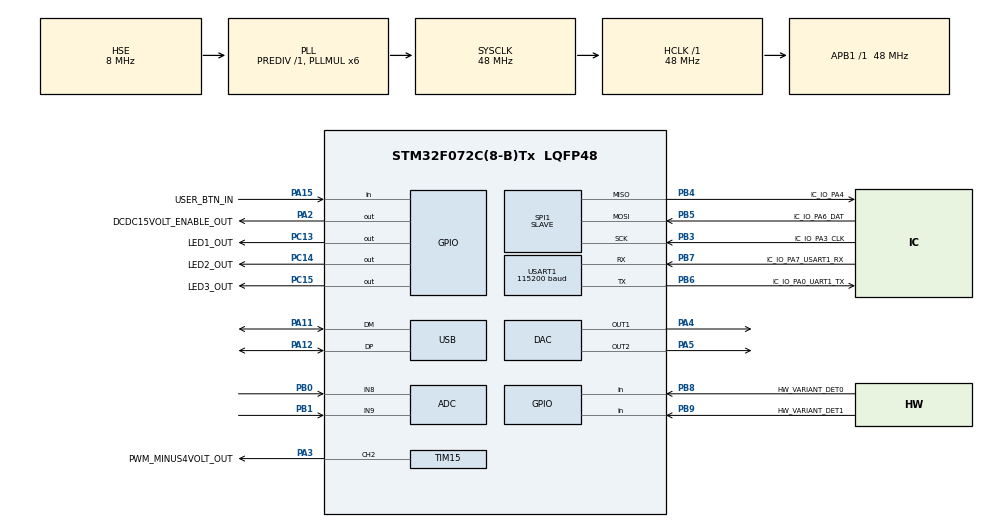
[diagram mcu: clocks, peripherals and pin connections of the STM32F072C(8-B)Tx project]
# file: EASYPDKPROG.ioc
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ADC.ContinuousConvMode=DISABLE
ADC.DMAContinuousRequests=ENABLE
ADC.EOCSelection=ADC_EOC_SEQ_CONV
ADC.ExternalTrigConv=ADC_EXTERNALTRIGCONV_T1_TRGO
ADC.Overrun=ADC_OVR_DATA_OVERWRITTEN
ADC.SamplingTime=ADC_SAMPLETIME_239CYCLES_5
DAC.DAC_OutputBuffer=DAC_OUTPUTBUFFER_DISABLE
DAC.DAC_OutputBuffer2=DAC_OUTPUTBUFFER_DISABLE
DAC.DAC_Trigger=DAC_TRIGGER_NONE
DAC.DAC_Trigger2=DAC_TRIGGER_NONE
Dma.ADC.0.Direction=DMA_PERIPH_TO_MEMORY
Dma.ADC.0.Instance=DMA1_Channel1
Dma.ADC.0.MemDataAlignment=DMA_MDATAALIGN_HALFWORD
Dma.ADC.0.MemInc=DMA_MINC_ENABLE
Dma.ADC.0.Mode=DMA_CIRCULAR
Dma.ADC.0.PeriphDataAlignment=DMA_PDATAALIGN_HALFWORD
Dma.ADC.0.PeriphInc=DMA_PINC_DISABLE
Dma.ADC.0.Priority=DMA_PRIORITY_LOW
Dma.DAC_CH2.4.Direction=DMA_MEMORY_TO_PERIPH
Dma.DAC_CH2.4.Instance=DMA1_Channel4
Dma.DAC_CH2.4.MemDataAlignment=DMA_MDATAALIGN_WORD
Dma.DAC_CH2.4.MemInc=DMA_MINC_ENABLE
Dma.DAC_CH2.4.Mode=DMA_CIRCULAR
Dma.DAC_CH2.4.PeriphDataAlignment=DMA_PDATAALIGN_WORD
Dma.DAC_CH2.4.PeriphInc=DMA_PINC_DISABLE
Dma.DAC_CH2.4.Priority=DMA_PRIORITY_VERY_HIGH
Dma.Request0=ADC
Dma.Request1=USART1_RX
Dma.Request2=SPI1_TX
Dma.Request3=SPI1_RX
Dma.Request4=DAC_CH2
Dma.SPI1_RX.3.Direction=DMA_PERIPH_TO_MEMORY
Dma.SPI1_RX.3.Instance=DMA1_Channel2
Dma.SPI1_RX.3.MemDataAlignment=DMA_MDATAALIGN_BYTE
Dma.SPI1_RX.3.MemInc=DMA_MINC_ENABLE
Dma.SPI1_RX.3.Mode=DMA_CIRCULAR
Dma.SPI1_RX.3.PeriphDataAlignment=DMA_PDATAALIGN_BYTE
Dma.SPI1_RX.3.PeriphInc=DMA_PINC_DISABLE
Dma.SPI1_RX.3.Priority=DMA_PRIORITY_VERY_HIGH
Dma.SPI1_TX.2.Direction=DMA_MEMORY_TO_PERIPH
Dma.SPI1_TX.2.Instance=DMA1_Channel3
Dma.SPI1_TX.2.MemDataAlignment=DMA_MDATAALIGN_BYTE
Dma.SPI1_TX.2.MemInc=DMA_MINC_ENABLE
Dma.SPI1_TX.2.Mode=DMA_CIRCULAR
Dma.SPI1_TX.2.PeriphDataAlignment=DMA_PDATAALIGN_BYTE
Dma.SPI1_TX.2.PeriphInc=DMA_PINC_DISABLE
Dma.SPI1_TX.2.Priority=DMA_PRIORITY_VERY_HIGH
Dma.USART1_RX.1.Direction=DMA_PERIPH_TO_MEMORY
Dma.USART1_RX.1.Instance=DMA1_Channel5
Dma.USART1_RX.1.MemDataAlignment=DMA_MDATAALIGN_BYTE
Dma.USART1_RX.1.MemInc=DMA_MINC_ENABLE
Dma.USART1_RX.1.Mode=DMA_CIRCULAR
Dma.USART1_RX.1.PeriphDataAlignment=DMA_PDATAALIGN_BYTE
Dma.USART1_RX.1.PeriphInc=DMA_PINC_DISABLE
Dma.USART1_RX.1.Priority=DMA_PRIORITY_LOW
Mcu.Family=STM32F0
Mcu.Name=STM32F072C(8-B)Tx
Mcu.Package=LQFP48
NVIC.DMA1_Channel1_IRQn=true\:0\:0\:false\:false\:true\:false\:true
NVIC.DMA1_Channel2_3_IRQn=true\:0\:0\:false\:false\:true\:false\:true
NVIC.DMA1_Channel4_5_6_7_IRQn=true\:0\:0\:false\:false\:true\:false\:true
NVIC.TIM1_CC_IRQn=true\:0\:0\:false\:false\:true\:true\:true
NVIC.USART1_IRQn=true\:0\:0\:false\:false\:true\:true\:true
NVIC.USB_IRQn=true\:0\:0\:false\:false\:true\:false\:true
PA11.Mode=Device
PA11.Signal=USB_DM
PA12.Mode=Device
PA12.Signal=USB_DP
PA13.Mode=Serial_Wire
PA13.Signal=SYS_SWDIO
PA14.Mode=Serial_Wire
PA14.Signal=SYS_SWCLK
PA15.GPIO_Label=USER_BTN_IN
PA15.GPIO_PuPd=GPIO_PULLDOWN
PA15.Signal=GPIO_Input
PA2.GPIO_Label=DCDC15VOLT_ENABLE_OUT
PA2.PinState=GPIO_PIN_RESET
PA2.Signal=GPIO_Output
PA3.GPIO_Label=PWM_MINUS4VOLT_OUT
PA3.GPIO_Speed=GPIO_SPEED_FREQ_HIGH
PA3.Signal=S_TIM15_CH2
PA4.Signal=COMP_DAC1_group
PA5.Signal=COMP_DAC2_group
PB0.Mode=IN8
PB0.Signal=ADC_IN8
PB1.Mode=IN9
PB1.Signal=ADC_IN9
PB3.GPIO_Label=IC_IO_PA3_CLK
PB3.GPIO_PuPd=GPIO_NOPULL
PB3.Mode=Full_Duplex_Slave
PB3.Signal=SPI1_SCK
PB4.GPIO_Label=IC_IO_PA4
PB4.Mode=Full_Duplex_Slave
PB4.Signal=SPI1_MISO
PB5.GPIO_Label=IC_IO_PA6_DAT
PB5.Mode=Full_Duplex_Slave
PB5.Signal=SPI1_MOSI
PB6.GPIO_Label=IC_IO_PA0_UART1_TX
PB6.Mode=Asynchronous
PB6.Signal=USART1_TX
PB7.GPIO_Label=IC_IO_PA7_USART1_RX
PB7.GPIO_PuPd=GPIO_PULLDOWN
PB7.Mode=Asynchronous
PB7.Signal=USART1_RX
PB8.GPIO_Label=HW_VARIANT_DET0
PB8.Signal=GPIO_Input
PB9.GPIO_Label=HW_VARIANT_DET1
PB9.Signal=GPIO_Input
PC13.GPIO_Label=LED1_OUT
PC13.PinState=GPIO_PIN_SET
PC13.Signal=GPIO_Output
PC14-OSC32_IN.GPIO_Label=LED2_OUT
PC14-OSC32_IN.PinState=GPIO_PIN_SET
PC14-OSC32_IN.Signal=GPIO_Output
PC15-OSC32_OUT.GPIO_Label=LED3_OUT
PC15-OSC32_OUT.PinState=GPIO_PIN_SET
PC15-OSC32_OUT.Signal=GPIO_Output
PF0-OSC_IN.Mode=HSE-External-Oscillator
PF0-OSC_IN.Signal=RCC_OSC_IN
PF1-OSC_OUT.Mode=HSE-External-Oscillator
PF1-OSC_OUT.Signal=RCC_OSC_OUT
ProjectManager.HeapSize=0x08
ProjectManager.StackSize=0x400
ProjectManager.TargetToolchain=Makefile
RCC.AHBFreq_Value=48000000
RCC.APB1Freq_Value=48000000
RCC.APB1TimFreq_Value=48000000
RCC.HCLKFreq_Value=48000000
RCC.PLLMUL=RCC_PLL_MUL6
RCC.PLLSourceVirtual=RCC_PLLSOURCE_HSE
RCC.SYSCLKFreq_VALUE=48000000
RCC.SYSCLKSource=RCC_SYSCLKSOURCE_PLLCLK
SH.COMP_DAC1_group.0=DAC_OUT1,DAC_OUT1
SH.COMP_DAC2_group.0=DAC_OUT2,DAC_OUT2
SH.S_TIM15_CH2.0=TIM15_CH2,PWM Generation2 CH2
SPI1.DataSize=SPI_DATASIZE_8BIT
SPI1.Direction=SPI_DIRECTION_2LINES
SPI1.Mode=SPI_MODE_SLAVE
SPI1.VirtualType=VM_SLAVE
TIM1.Period=10
TIM1.Prescaler=48000
TIM1.TIM_MasterOutputTrigger=TIM_TRGO_UPDATE
TIM15.Channel-PWM\ Generation2\ CH2=TIM_CHANNEL_2
TIM15.Period=10
TIM15.Prescaler=95
TIM15.Pulse-PWM\ Generation2\ CH2=5
TIM2.Period=0xFFFFFFFF
TIM3.Period=48000
TIM3.TIM_MasterOutputTrigger=TIM_TRGO_UPDATE
USART1.AutoBaudRateEnableParam=UART_ADVFEATURE_AUTOBAUDRATE_ENABLE
USART1.BaudRate=115200
USART1.Mode=MODE_TX_RX
USART1.VirtualMode-Asynchronous=VM_ASYNC
USB_DEVICE.APP_RX_DATA_SIZE=512
USB_DEVICE.APP_TX_DATA_SIZE=1
USB_DEVICE.CLASS_NAME_FS=CDC
USB_DEVICE.MANUFACTURER_STRING=free-pdk.github.io
USB_DEVICE.PRODUCT_STRING_CDC_FS=Easy PDK Programmer
USB_DEVICE.SERIALNUMBER_STRING_CDC_FS=1234567855AA
USB_DEVICE.USBD_MAX_STR_DESC_SIZ=128
USB_DEVICE.VirtualMode=Cdc
USB_DEVICE.VirtualModeFS=Cdc_FS
VP_ADC_Vref_Input.Mode=IN-Vrefint
VP_TIM15_VS_ClockSourceINT.Mode=Internal
VP_TIM1_VS_ClockSourceINT.Mode=Internal
VP_TIM2_VS_ClockSourceINT.Mode=Internal
VP_TIM3_VS_ClockSourceINT.Mode=Internal
VP_USB_DEVICE_VS_USB_DEVICE_CDC_FS.Mode=CDC_FS
board=custom

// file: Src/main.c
/* USER CODE BEGIN Header */
/*
Copyright (C) 2019-2021  freepdk  https://free-pdk.github.io

This program is free software: you can redistribute it and/or modify
it under the terms of the GNU General Public License as published by
the Free Software Foundation, either version 3 of the License, or
(at your option) any later version.

This program is distributed in the hope that it will be useful,
but WITHOUT ANY WARRANTY; without even the implied warranty of
MERCHANTABILITY or FITNESS FOR A PARTICULAR PURPOSE.  See the
GNU General Public License for more details.

You should have received a copy of the GNU General Public License
along with this program.  If not, see <http://www.gnu.org/licenses/>.
*/
/* USER CODE END Header */
#include "main.h"
#include "usb_device.h"

/* USER CODE BEGIN Includes */
#include "fpdk.h"
#include "fpdkusb.h"
#include "fpdkuart.h"
/* USER CODE END Includes */

ADC_HandleTypeDef hadc;
DMA_HandleTypeDef hdma_adc;

DAC_HandleTypeDef hdac;
DMA_HandleTypeDef hdma_dac_ch2;

SPI_HandleTypeDef hspi1;
DMA_HandleTypeDef hdma_spi1_tx;
DMA_HandleTypeDef hdma_spi1_rx;

TIM_HandleTypeDef htim1;
TIM_HandleTypeDef htim2;
TIM_HandleTypeDef htim3;
TIM_HandleTypeDef htim15;

UART_HandleTypeDef huart1;
DMA_HandleTypeDef hdma_usart1_rx;

void SystemClock_Config(void);
static void MX_GPIO_Init(void);
static void MX_DMA_Init(void);
static void MX_DAC_Init(void);
static void MX_ADC_Init(void);
static void MX_TIM15_Init(void);
static void MX_TIM1_Init(void);
static void MX_USART1_UART_Init(void);
static void MX_SPI1_Init(void);
static void MX_TIM2_Init(void);
static void MX_TIM3_Init(void);

int main(void)

{

  /* MCU Configuration--------------------------------------------------------*/

  /* Reset of all peripherals, Initializes the Flash interface and the Systick. */
  HAL_Init();

  /* Configure the system clock */
  SystemClock_Config();

  /* Initialize all configured peripherals */
  MX_GPIO_Init();
  MX_DMA_Init();
  MX_DAC_Init();
  MX_ADC_Init();
  MX_USB_DEVICE_Init();
  MX_TIM15_Init();
  MX_TIM1_Init();
  MX_USART1_UART_Init();
  MX_SPI1_Init();
  MX_TIM2_Init();
  MX_TIM3_Init();
  /* USER CODE BEGIN 2 */
  FPDK_Init();
  FPDKUSB_Init();
  /* USER CODE END 2 */

  /* Infinite loop */
  /* USER CODE BEGIN WHILE */
  while (1)
  {
    if( FPDKUSB_IsConnected() )
    {
      //com port connected, handle commands
      FPDKUSB_HandleCommands();
      FPDKUART_HandleQueue();
    }
    else
    {
      //not connected, autonomous mode
    }
    /* USER CODE END WHILE */

    /* USER CODE BEGIN 3 */
  }

  FPDKUSB_DeInit();
  FPDK_DeInit();
  /* USER CODE END 3 */
}

void SystemClock_Config(void)
{
  RCC_OscInitTypeDef RCC_OscInitStruct = {0};
  RCC_ClkInitTypeDef RCC_ClkInitStruct = {0};
  RCC_PeriphCLKInitTypeDef PeriphClkInit = {0};

  /** Initializes the RCC Oscillators according to the specified parameters
  * in the RCC_OscInitTypeDef structure.
  */
  RCC_OscInitStruct.OscillatorType = RCC_OSCILLATORTYPE_HSI14|RCC_OSCILLATORTYPE_HSI48
                              |RCC_OSCILLATORTYPE_HSE;
  RCC_OscInitStruct.HSEState = RCC_HSE_ON;
  RCC_OscInitStruct.HSI48State = RCC_HSI48_ON;
  RCC_OscInitStruct.HSI14State = RCC_HSI14_ON;
  RCC_OscInitStruct.HSI14CalibrationValue = 16;
  RCC_OscInitStruct.PLL.PLLState = RCC_PLL_ON;
  RCC_OscInitStruct.PLL.PLLSource = RCC_PLLSOURCE_HSE;
  RCC_OscInitStruct.PLL.PLLMUL = RCC_PLL_MUL6;
  RCC_OscInitStruct.PLL.PREDIV = RCC_PREDIV_DIV1;
  if (HAL_RCC_OscConfig(&RCC_OscInitStruct) != HAL_OK)
  {
    Error_Handler();
  }
  /** Initializes the CPU, AHB and APB buses clocks
  */
  RCC_ClkInitStruct.ClockType = RCC_CLOCKTYPE_HCLK|RCC_CLOCKTYPE_SYSCLK
                              |RCC_CLOCKTYPE_PCLK1;
  RCC_ClkInitStruct.SYSCLKSource = RCC_SYSCLKSOURCE_PLLCLK;
  RCC_ClkInitStruct.AHBCLKDivider = RCC_SYSCLK_DIV1;
  RCC_ClkInitStruct.APB1CLKDivider = RCC_HCLK_DIV1;

  if (HAL_RCC_ClockConfig(&RCC_ClkInitStruct, FLASH_LATENCY_1) != HAL_OK)
  {
    Error_Handler();
  }
  PeriphClkInit.PeriphClockSelection = RCC_PERIPHCLK_USB|RCC_PERIPHCLK_USART1;
  PeriphClkInit.Usart1ClockSelection = RCC_USART1CLKSOURCE_PCLK1;
  PeriphClkInit.UsbClockSelection = RCC_USBCLKSOURCE_HSI48;

  if (HAL_RCCEx_PeriphCLKConfig(&PeriphClkInit) != HAL_OK)
  {
    Error_Handler();
  }
}

static void MX_ADC_Init(void)
{

  ADC_ChannelConfTypeDef sConfig = {0};

  /** Configure the global features of the ADC (Clock, Resolution, Data Alignment and number of conversion)
  */
  hadc.Instance = ADC1;
  hadc.Init.ClockPrescaler = ADC_CLOCK_ASYNC_DIV1;
  hadc.Init.Resolution = ADC_RESOLUTION_12B;
  hadc.Init.DataAlign = ADC_DATAALIGN_RIGHT;
  hadc.Init.ScanConvMode = ADC_SCAN_DIRECTION_FORWARD;
  hadc.Init.EOCSelection = ADC_EOC_SEQ_CONV;
  hadc.Init.LowPowerAutoWait = DISABLE;
  hadc.Init.LowPowerAutoPowerOff = DISABLE;
  hadc.Init.ContinuousConvMode = DISABLE;
  hadc.Init.DiscontinuousConvMode = DISABLE;
  hadc.Init.ExternalTrigConv = ADC_EXTERNALTRIGCONV_T1_TRGO;
  hadc.Init.ExternalTrigConvEdge = ADC_EXTERNALTRIGCONVEDGE_RISING;
  hadc.Init.DMAContinuousRequests = ENABLE;
  hadc.Init.Overrun = ADC_OVR_DATA_OVERWRITTEN;
  if (HAL_ADC_Init(&hadc) != HAL_OK)
  {
    Error_Handler();
  }
  /** Configure for the selected ADC regular channel to be converted.
  */
  sConfig.Channel = ADC_CHANNEL_8;
  sConfig.Rank = ADC_RANK_CHANNEL_NUMBER;
  sConfig.SamplingTime = ADC_SAMPLETIME_239CYCLES_5;
  if (HAL_ADC_ConfigChannel(&hadc, &sConfig) != HAL_OK)
  {
    Error_Handler();
  }
  /** Configure for the selected ADC regular channel to be converted.
  */
  sConfig.Channel = ADC_CHANNEL_9;
  if (HAL_ADC_ConfigChannel(&hadc, &sConfig) != HAL_OK)
  {
    Error_Handler();
  }
  /** Configure for the selected ADC regular channel to be converted.
  */
  sConfig.Channel = ADC_CHANNEL_VREFINT;
  if (HAL_ADC_ConfigChannel(&hadc, &sConfig) != HAL_OK)
  {
    Error_Handler();
  }

}

static void MX_DAC_Init(void)
{

  DAC_ChannelConfTypeDef sConfig = {0};

  /** DAC Initialization
  */
  hdac.Instance = DAC;
  if (HAL_DAC_Init(&hdac) != HAL_OK)
  {
    Error_Handler();
  }
  /** DAC channel OUT1 config
  */
  sConfig.DAC_Trigger = DAC_TRIGGER_NONE;
  sConfig.DAC_OutputBuffer = DAC_OUTPUTBUFFER_DISABLE;
  if (HAL_DAC_ConfigChannel(&hdac, &sConfig, DAC_CHANNEL_1) != HAL_OK)
  {
    Error_Handler();
  }
  /** DAC channel OUT2 config
  */
  if (HAL_DAC_ConfigChannel(&hdac, &sConfig, DAC_CHANNEL_2) != HAL_OK)
  {
    Error_Handler();
  }

}

static void MX_SPI1_Init(void)
{

  /* SPI1 parameter configuration*/
  hspi1.Instance = SPI1;
  hspi1.Init.Mode = SPI_MODE_SLAVE;
  hspi1.Init.Direction = SPI_DIRECTION_2LINES;
  hspi1.Init.DataSize = SPI_DATASIZE_8BIT;
  hspi1.Init.CLKPolarity = SPI_POLARITY_LOW;
  hspi1.Init.CLKPhase = SPI_PHASE_1EDGE;
  hspi1.Init.NSS = SPI_NSS_SOFT;
  hspi1.Init.FirstBit = SPI_FIRSTBIT_MSB;
  hspi1.Init.TIMode = SPI_TIMODE_DISABLE;
  hspi1.Init.CRCCalculation = SPI_CRCCALCULATION_DISABLE;
  hspi1.Init.CRCPolynomial = 7;
  hspi1.Init.CRCLength = SPI_CRC_LENGTH_DATASIZE;
  hspi1.Init.NSSPMode = SPI_NSS_PULSE_DISABLE;
  if (HAL_SPI_Init(&hspi1) != HAL_OK)
  {
    Error_Handler();
  }

}

static void MX_TIM1_Init(void)
{

  TIM_ClockConfigTypeDef sClockSourceConfig = {0};
  TIM_MasterConfigTypeDef sMasterConfig = {0};

  htim1.Instance = TIM1;
  htim1.Init.Prescaler = 48000;
  htim1.Init.CounterMode = TIM_COUNTERMODE_UP;
  htim1.Init.Period = 10;
  htim1.Init.ClockDivision = TIM_CLOCKDIVISION_DIV1;
  htim1.Init.RepetitionCounter = 0;
  htim1.Init.AutoReloadPreload = TIM_AUTORELOAD_PRELOAD_DISABLE;
  if (HAL_TIM_Base_Init(&htim1) != HAL_OK)
  {
    Error_Handler();
  }
  sClockSourceConfig.ClockSource = TIM_CLOCKSOURCE_INTERNAL;
  if (HAL_TIM_ConfigClockSource(&htim1, &sClockSourceConfig) != HAL_OK)
  {
    Error_Handler();
  }
  sMasterConfig.MasterOutputTrigger = TIM_TRGO_UPDATE;
  sMasterConfig.MasterSlaveMode = TIM_MASTERSLAVEMODE_DISABLE;
  if (HAL_TIMEx_MasterConfigSynchronization(&htim1, &sMasterConfig) != HAL_OK)
  {
    Error_Handler();
  }

}

static void MX_TIM2_Init(void)
{

  TIM_ClockConfigTypeDef sClockSourceConfig = {0};
  TIM_MasterConfigTypeDef sMasterConfig = {0};

  htim2.Instance = TIM2;
  htim2.Init.Prescaler = 0;
  htim2.Init.CounterMode = TIM_COUNTERMODE_UP;
  htim2.Init.Period = 0xFFFFFFFF;
  htim2.Init.ClockDivision = TIM_CLOCKDIVISION_DIV1;
  htim2.Init.AutoReloadPreload = TIM_AUTORELOAD_PRELOAD_DISABLE;
  if (HAL_TIM_Base_Init(&htim2) != HAL_OK)
  {
    Error_Handler();
  }
  sClockSourceConfig.ClockSource = TIM_CLOCKSOURCE_INTERNAL;
  if (HAL_TIM_ConfigClockSource(&htim2, &sClockSourceConfig) != HAL_OK)
  {
    Error_Handler();
  }
  sMasterConfig.MasterOutputTrigger = TIM_TRGO_RESET;
  sMasterConfig.MasterSlaveMode = TIM_MASTERSLAVEMODE_DISABLE;
  if (HAL_TIMEx_MasterConfigSynchronization(&htim2, &sMasterConfig) != HAL_OK)
  {
    Error_Handler();
  }

}

static void MX_TIM3_Init(void)
{

  TIM_ClockConfigTypeDef sClockSourceConfig = {0};
  TIM_MasterConfigTypeDef sMasterConfig = {0};

  htim3.Instance = TIM3;
  htim3.Init.Prescaler = 0;
  htim3.Init.CounterMode = TIM_COUNTERMODE_UP;
  htim3.Init.Period = 48000;
  htim3.Init.ClockDivision = TIM_CLOCKDIVISION_DIV1;
  htim3.Init.AutoReloadPreload = TIM_AUTORELOAD_PRELOAD_DISABLE;
  if (HAL_TIM_Base_Init(&htim3) != HAL_OK)
  {
    Error_Handler();
  }
  sClockSourceConfig.ClockSource = TIM_CLOCKSOURCE_INTERNAL;
  if (HAL_TIM_ConfigClockSource(&htim3, &sClockSourceConfig) != HAL_OK)
  {
    Error_Handler();
  }
  sMasterConfig.MasterOutputTrigger = TIM_TRGO_UPDATE;
  sMasterConfig.MasterSlaveMode = TIM_MASTERSLAVEMODE_DISABLE;
  if (HAL_TIMEx_MasterConfigSynchronization(&htim3, &sMasterConfig) != HAL_OK)
  {
    Error_Handler();
  }

}

static void MX_TIM15_Init(void)
{

  TIM_ClockConfigTypeDef sClockSourceConfig = {0};
  TIM_MasterConfigTypeDef sMasterConfig = {0};
  TIM_OC_InitTypeDef sConfigOC = {0};
  TIM_BreakDeadTimeConfigTypeDef sBreakDeadTimeConfig = {0};

  htim15.Instance = TIM15;
  htim15.Init.Prescaler = 95;
  htim15.Init.CounterMode = TIM_COUNTERMODE_UP;
  htim15.Init.Period = 10;
  htim15.Init.ClockDivision = TIM_CLOCKDIVISION_DIV1;
  htim15.Init.RepetitionCounter = 0;
  htim15.Init.AutoReloadPreload = TIM_AUTORELOAD_PRELOAD_DISABLE;
  if (HAL_TIM_Base_Init(&htim15) != HAL_OK)
  {
    Error_Handler();
  }
  sClockSourceConfig.ClockSource = TIM_CLOCKSOURCE_INTERNAL;
  if (HAL_TIM_ConfigClockSource(&htim15, &sClockSourceConfig) != HAL_OK)
  {
    Error_Handler();
  }
  if (HAL_TIM_PWM_Init(&htim15) != HAL_OK)
  {
    Error_Handler();
  }
  sMasterConfig.MasterOutputTrigger = TIM_TRGO_RESET;
  sMasterConfig.MasterSlaveMode = TIM_MASTERSLAVEMODE_DISABLE;
  if (HAL_TIMEx_MasterConfigSynchronization(&htim15, &sMasterConfig) != HAL_OK)
  {
    Error_Handler();
  }
  sConfigOC.OCMode = TIM_OCMODE_PWM1;
  sConfigOC.Pulse = 5;
  sConfigOC.OCPolarity = TIM_OCPOLARITY_HIGH;
  sConfigOC.OCNPolarity = TIM_OCNPOLARITY_HIGH;
  sConfigOC.OCFastMode = TIM_OCFAST_DISABLE;
  sConfigOC.OCIdleState = TIM_OCIDLESTATE_RESET;
  sConfigOC.OCNIdleState = TIM_OCNIDLESTATE_RESET;
  if (HAL_TIM_PWM_ConfigChannel(&htim15, &sConfigOC, TIM_CHANNEL_2) != HAL_OK)
  {
    Error_Handler();
  }
  sBreakDeadTimeConfig.OffStateRunMode = TIM_OSSR_DISABLE;
  sBreakDeadTimeConfig.OffStateIDLEMode = TIM_OSSI_DISABLE;
  sBreakDeadTimeConfig.LockLevel = TIM_LOCKLEVEL_OFF;
  sBreakDeadTimeConfig.DeadTime = 0;
  sBreakDeadTimeConfig.BreakState = TIM_BREAK_DISABLE;
  sBreakDeadTimeConfig.BreakPolarity = TIM_BREAKPOLARITY_HIGH;
  sBreakDeadTimeConfig.AutomaticOutput = TIM_AUTOMATICOUTPUT_DISABLE;
  if (HAL_TIMEx_ConfigBreakDeadTime(&htim15, &sBreakDeadTimeConfig) != HAL_OK)
  {
    Error_Handler();
  }
  HAL_TIM_MspPostInit(&htim15);

}

static void MX_USART1_UART_Init(void)
{

  huart1.Instance = USART1;
  huart1.Init.BaudRate = 115200;
  huart1.Init.WordLength = UART_WORDLENGTH_8B;
  huart1.Init.StopBits = UART_STOPBITS_1;
  huart1.Init.Parity = UART_PARITY_NONE;
  huart1.Init.Mode = UART_MODE_TX_RX;
  huart1.Init.HwFlowCtl = UART_HWCONTROL_NONE;
  huart1.Init.OverSampling = UART_OVERSAMPLING_16;
  huart1.Init.OneBitSampling = UART_ONE_BIT_SAMPLE_DISABLE;
  huart1.AdvancedInit.AdvFeatureInit = UART_ADVFEATURE_AUTOBAUDRATE_INIT;
  huart1.AdvancedInit.AutoBaudRateEnable = UART_ADVFEATURE_AUTOBAUDRATE_ENABLE;
  huart1.AdvancedInit.AutoBaudRateMode = UART_ADVFEATURE_AUTOBAUDRATE_ONSTARTBIT;
  if (HAL_UART_Init(&huart1) != HAL_OK)
  {
    Error_Handler();
  }

}

static void MX_DMA_Init(void)
{

  /* DMA controller clock enable */
  __HAL_RCC_DMA1_CLK_ENABLE();

  /* DMA interrupt init */
  /* DMA1_Channel1_IRQn interrupt configuration */
  HAL_NVIC_SetPriority(DMA1_Channel1_IRQn, 0, 0);
  HAL_NVIC_EnableIRQ(DMA1_Channel1_IRQn);
  /* DMA1_Channel2_3_IRQn interrupt configuration */
  HAL_NVIC_SetPriority(DMA1_Channel2_3_IRQn, 0, 0);
  HAL_NVIC_EnableIRQ(DMA1_Channel2_3_IRQn);
  /* DMA1_Channel4_5_6_7_IRQn interrupt configuration */
  HAL_NVIC_SetPriority(DMA1_Channel4_5_6_7_IRQn, 0, 0);
  HAL_NVIC_EnableIRQ(DMA1_Channel4_5_6_7_IRQn);

}

static void MX_GPIO_Init(void)
{
  GPIO_InitTypeDef GPIO_InitStruct = {0};

  /* GPIO Ports Clock Enable */
  __HAL_RCC_GPIOC_CLK_ENABLE();
  __HAL_RCC_GPIOF_CLK_ENABLE();
  __HAL_RCC_GPIOA_CLK_ENABLE();
  __HAL_RCC_GPIOB_CLK_ENABLE();

  /*Configure GPIO pin Output Level */
  HAL_GPIO_WritePin(GPIOC, LED1_OUT_Pin|LED2_OUT_Pin|LED3_OUT_Pin, GPIO_PIN_SET);

  /*Configure GPIO pin Output Level */
  HAL_GPIO_WritePin(DCDC15VOLT_ENABLE_OUT_GPIO_Port, DCDC15VOLT_ENABLE_OUT_Pin, GPIO_PIN_RESET);

  /*Configure GPIO pins : LED1_OUT_Pin LED2_OUT_Pin LED3_OUT_Pin */
  GPIO_InitStruct.Pin = LED1_OUT_Pin|LED2_OUT_Pin|LED3_OUT_Pin;
  GPIO_InitStruct.Mode = GPIO_MODE_OUTPUT_PP;
  GPIO_InitStruct.Pull = GPIO_NOPULL;
  GPIO_InitStruct.Speed = GPIO_SPEED_FREQ_LOW;
  HAL_GPIO_Init(GPIOC, &GPIO_InitStruct);

  /*Configure GPIO pin : DCDC15VOLT_ENABLE_OUT_Pin */
  GPIO_InitStruct.Pin = DCDC15VOLT_ENABLE_OUT_Pin;
  GPIO_InitStruct.Mode = GPIO_MODE_OUTPUT_PP;
  GPIO_InitStruct.Pull = GPIO_NOPULL;
  GPIO_InitStruct.Speed = GPIO_SPEED_FREQ_LOW;
  HAL_GPIO_Init(DCDC15VOLT_ENABLE_OUT_GPIO_Port, &GPIO_InitStruct);

  /*Configure GPIO pin : USER_BTN_IN_Pin */
  GPIO_InitStruct.Pin = USER_BTN_IN_Pin;
  GPIO_InitStruct.Mode = GPIO_MODE_INPUT;
  GPIO_InitStruct.Pull = GPIO_PULLDOWN;
  HAL_GPIO_Init(USER_BTN_IN_GPIO_Port, &GPIO_InitStruct);

  /*Configure GPIO pins : HW_VARIANT_DET0_Pin HW_VARIANT_DET1_Pin */
  GPIO_InitStruct.Pin = HW_VARIANT_DET0_Pin|HW_VARIANT_DET1_Pin;
  GPIO_InitStruct.Mode = GPIO_MODE_INPUT;
  GPIO_InitStruct.Pull = GPIO_NOPULL;
  HAL_GPIO_Init(GPIOB, &GPIO_InitStruct);

}

/* USER CODE BEGIN 4 */
//required minimal implementations for newlib (now part of arm-gnu toolchain) => https://sourceware.org/newlib/libc.html#Stubs
int _open(const char *name, int flags, int mode) {
  return -1;
}
int _read(int file, char *ptr, int len) {
  return -1;
}
int _write(int file, char *ptr, int len) {
  return -1;
}
int _lseek(int file, int ptr, int dir) {
  return -1;
}
int _close(int file) {
  return -1;
}
/* USER CODE END 4 */

void Error_Handler(void)
{
}

/************************ (C) COPYRIGHT STMicroelectronics *****END OF FILE****/
